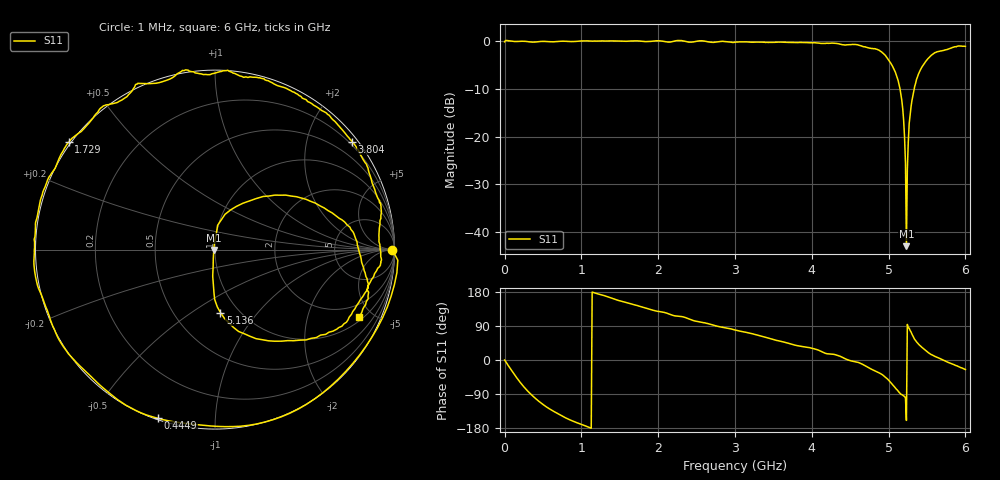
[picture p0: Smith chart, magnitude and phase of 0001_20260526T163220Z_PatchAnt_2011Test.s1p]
# Hz S RI R 50
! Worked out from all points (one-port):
!   501 points, 1 MHz to 6 GHz, reference 50 ohm
!   lowest |S11| = -43.0 dB at 5.232 GHz (marker M1), VSWR 1.01, Z = 49.3 - j0.245 ohm
!   |S11| at or under -10 dB: 5.149 GHz to 5.333 GHz (184.3 MHz wide, 3.52 % of centre)
!   S11 on the Smith chart (normalised r, x): 1 MHz: open; 444.9 MHz: 0.01, -0.72; 1.729 GHz: -0.01, +0.33; 3.804 GHz: 0.13, +2.88; 5.136 GHz: 0.82, -0.66; 6 GHz: 1.21, -4.16
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1000000  0.9886 -0.0014
8.4986e7  0.9063 -0.4336
2.16964e8  0.4645 -0.8881
3.0095e8  0.1413 -0.9842
4.44926e8  -0.3183 -0.94
7.56874e8  -0.8559 -0.5238
1.068822e9  -1.009 -0.084
1.50075e9  -0.9233 0.407
1.728712e9  -0.8154 0.5994
2.256624e9  -0.4427 0.9195
3.0005e9  0.1833 0.9589
3.756374e9  0.7373 0.6324
3.804366e9  0.7639 0.6014
4.308282e9  0.925 0.2294
4.50025e9  0.9235 -0.0242
4.86019e9  0.6907 -0.4337
5.028162e9  0.2995 -0.5083
5.136144e9  0.0305 -0.3508
5.184136e9  -0.00932 -0.196
5.196134e9  -0.0128 -0.1475
5.208132e9  -0.0104 -0.097
5.232128e9  -0.00662 -0.00248
5.256124e9  0.00698 0.0863
5.268122e9  0.0146 0.1357
5.292118e9  0.0562 0.1969
5.412098e9  0.3946 0.3035
5.628062e9  0.7696 0.0977
6e9  0.8013 -0.3749
